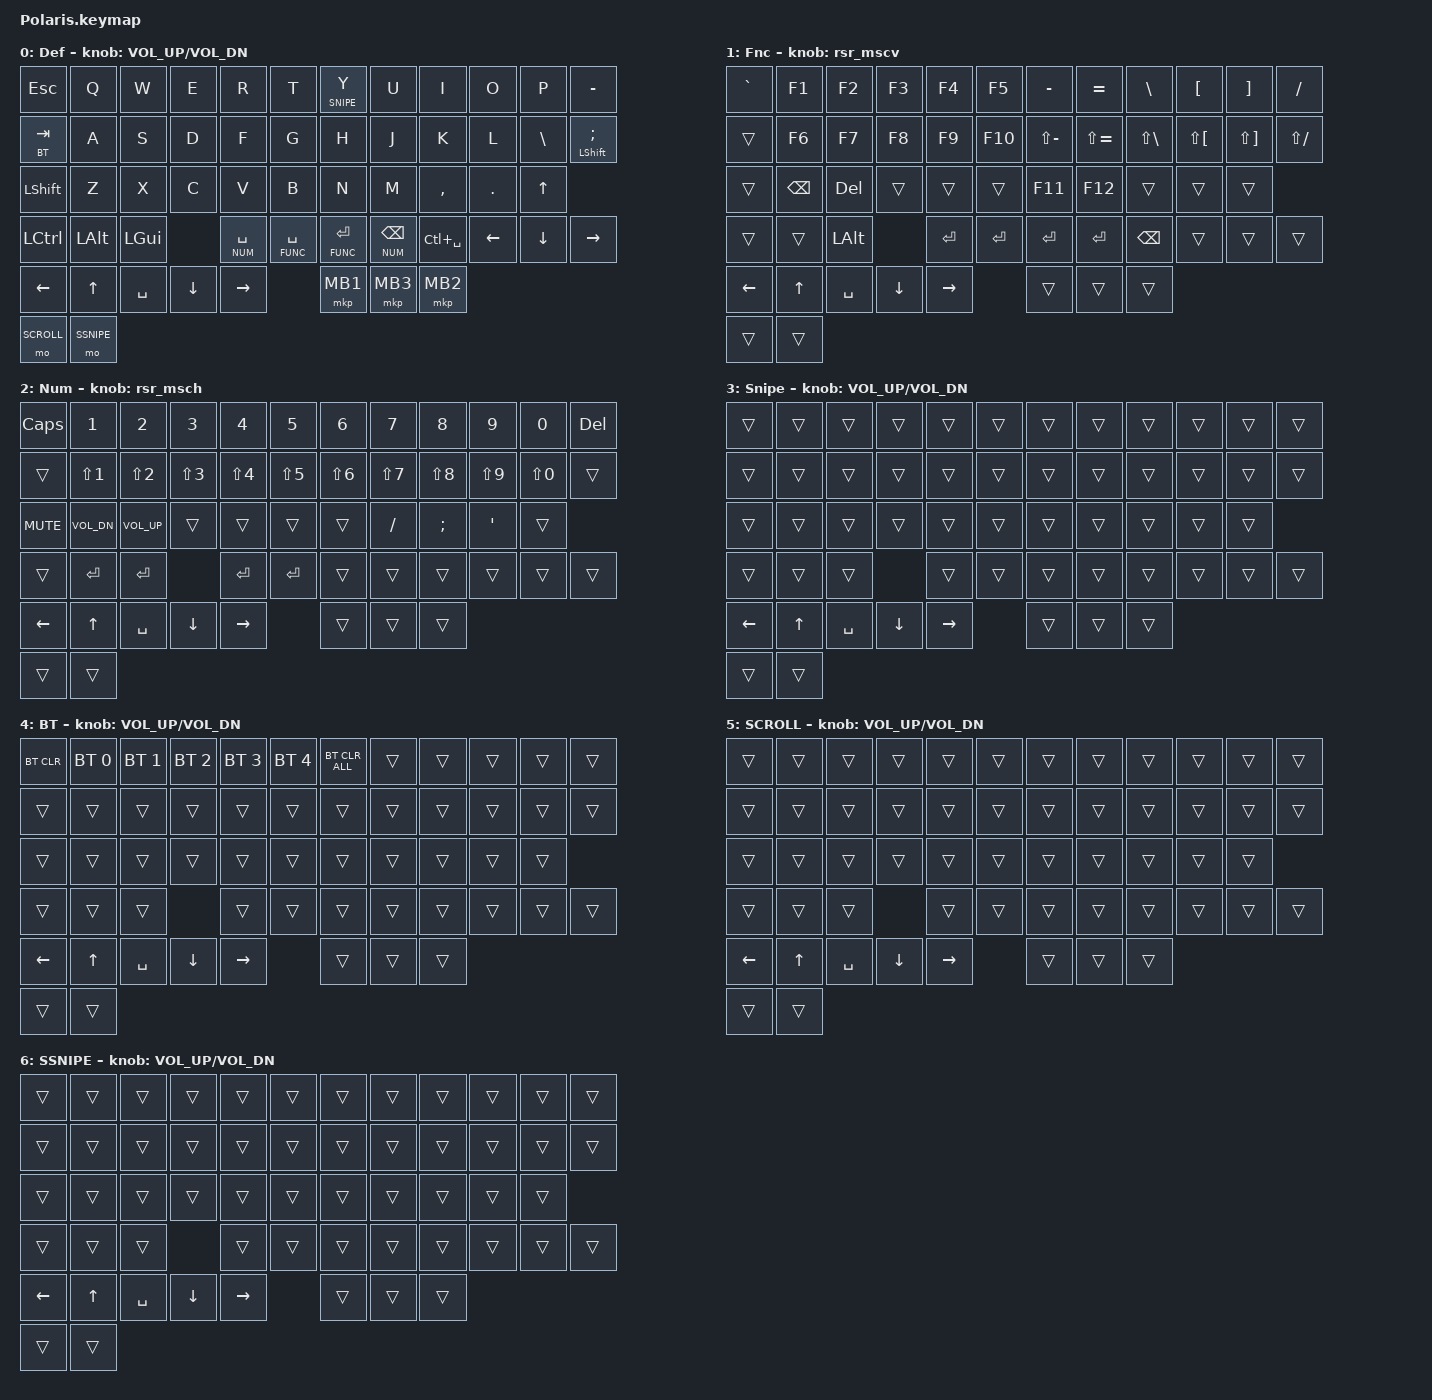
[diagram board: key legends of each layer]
// #include <layout_shift.dtsi>

#include <behaviors.dtsi>
#include <dt-bindings/zmk/bt.h>
#include <dt-bindings/zmk/keys.h>
#include <dt-bindings/zmk/pointing.h>
// #include "layout_shift.dtsi"

/ {
    behaviors {
        rsr_vol: rsr_vol {
            compatible = "zmk,behavior-runtime-sensor-rotate";
            #sensor-binding-cells = <0>;
            tap-ms = <5>;
            cw-binding = <&kp C_VOL_UP>;
            ccw-binding = <&kp C_VOL_DN>;
        };

        // mouse scroll
        rsr_msch: rsr_msch {
            compatible = "zmk,behavior-runtime-sensor-rotate";
            #sensor-binding-cells = <0>;
            tap-ms = <30>;
            cw-binding = <&msc MOVE_Y(-100)>;
            ccw-binding = <&msc MOVE_Y(100)>;
        };

        rsr_mscv: rsr_mscv {
            compatible = "zmk,behavior-runtime-sensor-rotate";
            #sensor-binding-cells = <0>;
            tap-ms = <30>;
            cw-binding = <&msc MOVE_X(100)>;
            ccw-binding = <&msc MOVE_X(-100)>;
        };
    };
};

#define DEF 0
#define FUNC 1
#define NUM 2
#define SNIPE 3
#define BT 4
#define SCROLL 5
#define SSNIPE 6

/ {
    combos {
        compatible = "zmk,combos";

        COMBO_LANG1 {
            bindings = <&kp LANGUAGE_1>;
            key-positions = <1 2>;
        };

        COMBO_LANG2 {
            bindings = <&kp LANG2>;
            key-positions = <2 3>;
        };

        COMBO_MOUSE_LEFT {
            bindings = <&mkp MB1>;
            key-positions = <19 20>;
            layers = <DEF>;
        };

        COMBO_MOUSE_RIGHT {
            bindings = <&mkp MB2>;
            key-positions = <20 21>;
            layers = <DEF>;
        };

        COMBO_MOUSE_MIDDLE {
            bindings = <&mkp MB3>;
            key-positions = <19 21>;
            layers = <DEF>;
        };
    };

    keymap {
        compatible = "zmk,keymap";

        default_layer {
            label = "Def";
            bindings = <
&kp ESC       &kp Q     &kp W      &kp E     &kp R          &kp T                   &lt SNIPE Y     &kp U         &kp I         &kp O     &kp P     &kp MINUS
&lt BT TAB    &kp A     &kp S      &kp D     &kp F          &kp G                   &kp H           &kp J         &kp K         &kp L     &kp BSLH  &mt LSHFT SEMI
&kp LSHFT     &kp Z     &kp X      &kp C     &kp V          &kp B                   &kp N           &kp M         &kp COMMA     &kp DOT   &kp UP
&kp LCTL      &kp LALT  &kp LGUI             &lt NUM SPACE  &lt FUNC SPACE          &lt FUNC ENTER  &lt NUM BACKSPACE  &kp LC(SPACE) &kp LEFT  &kp DOWN  &kp RIGHT
&kp LEFT      &kp UP    &kp SPACE  &kp DOWN  &kp RIGHT                              &mkp MB1        &mkp MB3      &mkp MB2
&mo SCROLL    &mo SSNIPE
            >;

            sensor-bindings = <&inc_dec_kp C_VOL_UP C_VOL_DN>;
        };

        function_layer {
            label = "Fnc";
            bindings = <
&kp GRAVE  &kp F1         &kp F2     &kp F3     &kp F4     &kp F5             &kp MINUS  &kp EQUAL  &kp BSLH  &kp LBKT  &kp RBKT  &kp FSLH
&trans     &kp F6         &kp F7     &kp F8     &kp F9     &kp F10            &kp LS(MINUS)  &kp LS(EQUAL)  &kp LS(BSLH)  &kp LS(LBKT)  &kp LS(RBKT)  &kp LS(FSLH)
&trans     &kp BACKSPACE  &kp DEL    &trans     &trans     &trans             &kp F11    &kp F12    &trans    &trans  &trans
&trans     &trans         &kp LALT              &kp ENTER  &kp ENTER          &kp ENTER  &kp ENTER  &kp BKSP  &trans  &trans   &trans
&kp LEFT   &kp UP         &kp SPACE  &kp DOWN   &kp RIGHT                     &trans     &trans     &trans
&trans     &trans
            >;

            sensor-bindings = <&rsr_mscv>;
        };

        num_layer {
            label = "Num";
            bindings = <
&kp CAPS         &kp N1         &kp N2     &kp N3    &kp N4     &kp N5             &kp N6     &kp N7     &kp N8    &kp N9    &kp N0    &kp DEL
&trans           &kp LS(N1)     &kp LS(N2) &kp LS(N3) &kp LS(N4) &kp LS(N5)         &kp LS(N6) &kp LS(N7) &kp LS(N8) &kp LS(N9) &kp LS(N0) &trans
&kp C_MUTE       &kp C_VOL_DN   &kp C_VOL_UP &trans   &trans     &trans             &trans     &kp FSLH   &kp SEMI  &kp SQT   &trans
&trans           &kp ENTER      &kp ENTER            &kp ENTER  &kp ENTER          &trans     &trans     &trans    &trans    &trans    &trans
&kp LEFT         &kp UP         &kp SPACE  &kp DOWN  &kp RIGHT                     &trans     &trans     &trans
&trans     &trans
            >;

            sensor-bindings = <&rsr_msch>;
        };

        snipe_layer {
            label = "Snipe";
            bindings = <
&trans    &trans  &trans     &trans    &trans     &trans          &trans  &trans  &trans  &trans  &trans  &trans
&trans    &trans  &trans     &trans    &trans     &trans          &trans  &trans  &trans  &trans  &trans  &trans
&trans    &trans  &trans     &trans    &trans     &trans          &trans  &trans  &trans  &trans  &trans
&trans    &trans  &trans               &trans     &trans          &trans  &trans  &trans  &trans  &trans  &trans
&kp LEFT  &kp UP  &kp SPACE  &kp DOWN  &kp RIGHT                  &trans  &trans  &trans
&trans     &trans
            >;

            sensor-bindings = <&inc_dec_kp C_VOL_UP C_VOL_DN>;
        };

        bt_layer {
            label = "BT";
            bindings = <
&bt BT_CLR  &bt BT_SEL 0  &bt BT_SEL 1  &bt BT_SEL 2  &bt BT_SEL 3  &bt BT_SEL 4          &bt BT_CLR_ALL  &trans  &trans  &trans  &trans  &trans
&trans      &trans        &trans        &trans        &trans        &trans                &trans          &trans  &trans  &trans  &trans  &trans
&trans      &trans        &trans        &trans        &trans        &trans                &trans          &trans  &trans  &trans  &trans
&trans      &trans        &trans                      &trans        &trans                &trans          &trans  &trans  &trans  &trans  &trans
&kp LEFT    &kp UP        &kp SPACE     &kp DOWN      &kp RIGHT                           &trans          &trans  &trans
&trans     &trans
            >;

            sensor-bindings = <&inc_dec_kp C_VOL_UP C_VOL_DN>;
        };

        scroll_layer {
            label = "SCROLL";
            bindings = <
&trans      &trans        &trans        &trans        &trans        &trans                &trans          &trans  &trans  &trans  &trans  &trans
&trans      &trans        &trans        &trans        &trans        &trans                &trans          &trans  &trans  &trans  &trans  &trans
&trans      &trans        &trans        &trans        &trans        &trans                &trans          &trans  &trans  &trans  &trans
&trans      &trans        &trans                      &trans        &trans                &trans          &trans  &trans  &trans  &trans  &trans
&kp LEFT    &kp UP        &kp SPACE     &kp DOWN      &kp RIGHT                           &trans          &trans  &trans
&trans     &trans
            >;

            sensor-bindings = <&inc_dec_kp C_VOL_UP C_VOL_DN>;
        };

        SSNIPE_layer {
            label = "SSNIPE";
            bindings = <
&trans      &trans        &trans        &trans        &trans        &trans                &trans          &trans  &trans  &trans  &trans  &trans
&trans      &trans        &trans        &trans        &trans        &trans                &trans          &trans  &trans  &trans  &trans  &trans
&trans      &trans        &trans        &trans        &trans        &trans                &trans          &trans  &trans  &trans  &trans
&trans      &trans        &trans                      &trans        &trans                &trans          &trans  &trans  &trans  &trans  &trans
&kp LEFT    &kp UP        &kp SPACE     &kp DOWN      &kp RIGHT                           &trans          &trans  &trans
&trans     &trans
            >;

            sensor-bindings = <&inc_dec_kp C_VOL_UP C_VOL_DN>;
        };
    };
};
